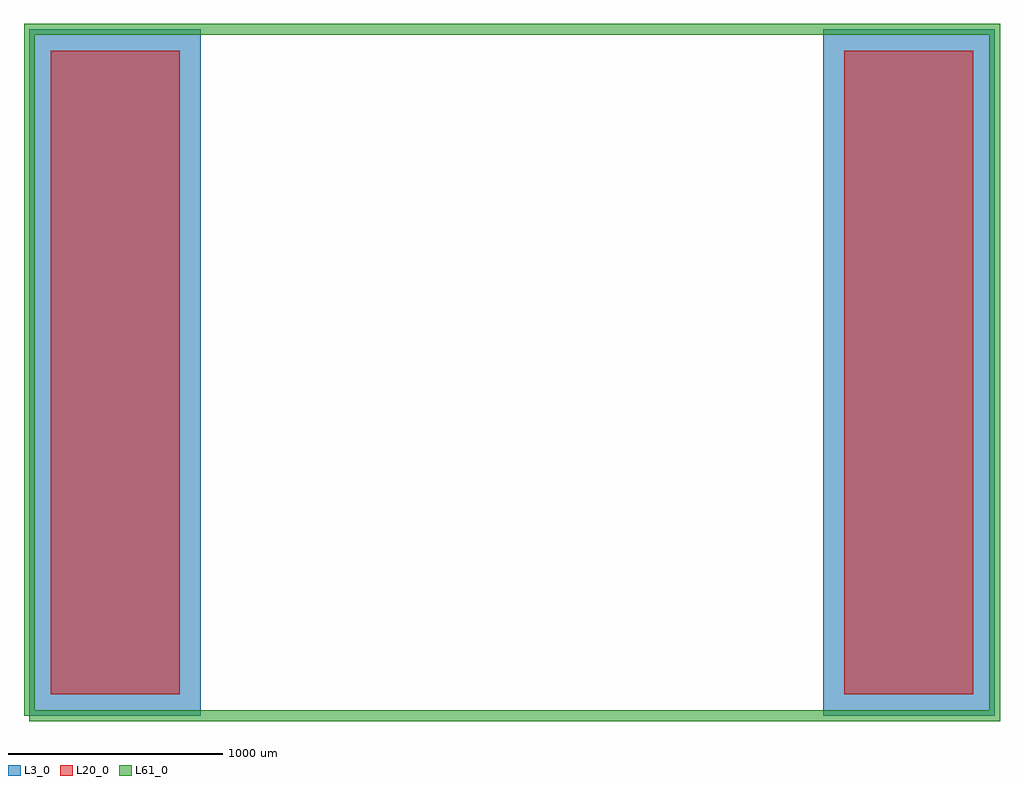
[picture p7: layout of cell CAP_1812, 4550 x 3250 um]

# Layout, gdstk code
import gdstk
lib = gdstk.Library(unit=1e-6, precision=1e-09)
def R(c, l, rs):  # rectangles x0, y0, x1, y1
    for r in rs: c.add(gdstk.rectangle(r[:2], r[2:], *l))
L3_0 = (3, 0)
L20_0 = (20, 0)
L61_0 = (61, 0)

cap_1812 = lib.new_cell('CAP_1812')
R(cap_1812, L3_0, [(0,0,800,3200), (3700,0,4500,3200)])
R(cap_1812, L20_0, [(100,100,700,3100), (3800,100,4400,3100)])
cap_1812.add(gdstk.FlexPath([(0,0),(4500,0),(4500,3200),(0,3200),(0,0)], 50, ends="flush", simple_path=True, layer=61, datatype=0))  # L61_0

lib.write_gds('CAP_1812.gds')
